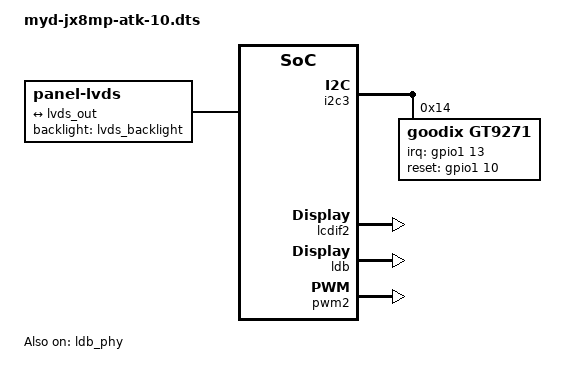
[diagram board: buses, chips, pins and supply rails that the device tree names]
// SPDX-License-Identifier: GPL-2.0+
/*
 * Copyright 2021 MYIR
 */

#include "myd-jx8mp-base.dts"

/ {

	
	
  panel: panel-lvds0 {
    compatible = "panel-lvds";
    backlight = <&lvds_backlight>;
    
		width-mm = <230>;
		height-mm = <150>;
    data-mapping = "vesa-24";
		panel-timing {
				clock-frequency = <71000000>;
				hactive = <1280>;
				hfront-porch = <60>;
				hsync-len = <17>;
				hback-porch = <60>;
				 
				vactive = <800>;
				vfront-porch = <10>; 
				vsync-len = <3>;
				vback-porch = <10>;
				
				
	  };

    port {
        panel_in_lvds0: endpoint {
            remote-endpoint = <&lvds_out>;
        };
    };
	};
	
	lvds_backlight: lvds_backlight {
		status = "okay";
	};
	
};

&i2c3 {


    
    	/* 10.1-inch , touch    */ 
		gt9271@14 {
				compatible = "goodix,gt9271";
				reg = <0x14>;
				pinctrl-names = "default";
				pinctrl-0 = <&atk_pins>;
				
				interrupt-parent = <&gpio1>;
				interrupts = <13 IRQ_TYPE_EDGE_FALLING>;
				
			
				esd-recovery-timeout-ms = <2000>;
				irq-gpios = <&gpio1 13 GPIO_ACTIVE_HIGH>;
				reset-gpios = <&gpio1 10 GPIO_ACTIVE_HIGH>;
				status = "okay";
			};
};

&lcdif2 {
	status = "okay";
};

&ldb {
	status = "okay";

	lvds-channel@1 {
		fsl,data-mapping = "spwg";
		fsl,data-width = <24>;
		status = "okay";

		port@1 {
			reg = <1>;

			lvds_out: endpoint {
				remote-endpoint = <&panel_in_lvds0>;
			};
		};
	};
};

&ldb_phy {
	status = "okay";
};


&pwm2 {
	pinctrl-names = "default";
	pinctrl-0 = <&pinctrl_pwm2>;
	status = "okay";
};

&iomuxc {
		atk_pins:pinctrl_atk {
			fsl,pins = <
				MX8MP_IOMUXC_GPIO1_IO13__GPIO1_IO13        0x19
				MX8MP_IOMUXC_GPIO1_IO10__GPIO1_IO10        0x19
			>;
		};

		pinctrl_pwm2: lvds0pwm2grp {
			fsl,pins = <
				MX8MP_IOMUXC_GPIO1_IO11__PWM2_OUT	0x116
			>;
		};		
};


&lcdif1{

	status = "disabled";
};

&mipi_dsi{
	status = "disabled";
};

&lcdif3{

	status = "disabled";
};

&irqsteer_hdmi {
	status = "disabled";
};

&hdmi_blk_ctrl {
	status = "disabled";
};

&hdmi_pavi {
	status = "disabled";
};

&hdmi {
	status = "disabled";
};

&hdmiphy {
	status = "disabled";
};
